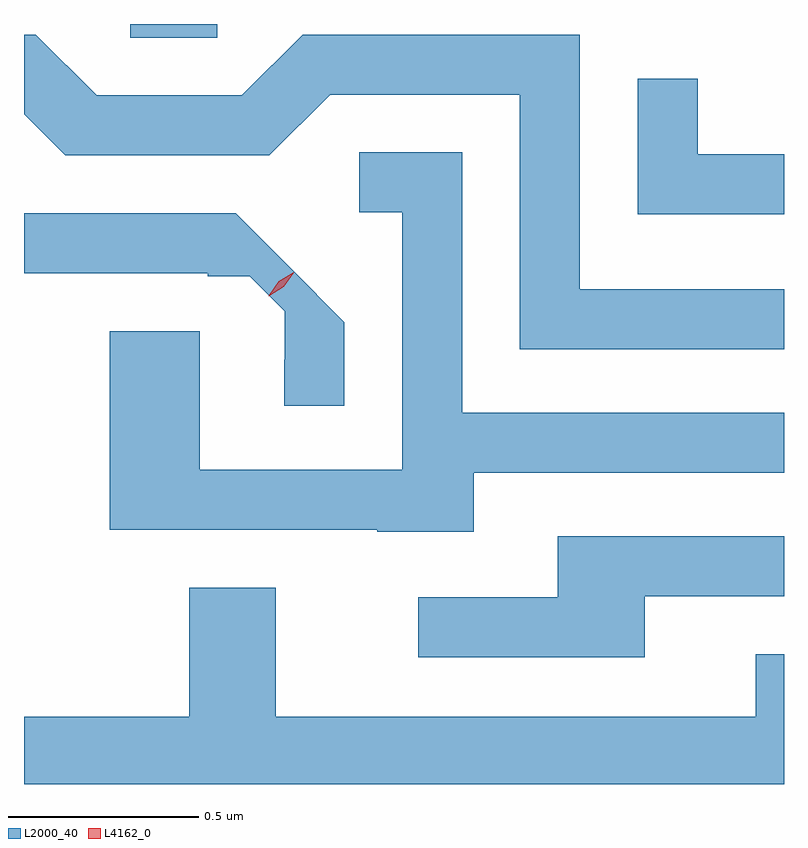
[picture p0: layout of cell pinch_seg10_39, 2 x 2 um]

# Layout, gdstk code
import gdstk
lib = gdstk.Library(unit=1e-6, precision=1e-09)
def R(c, l, rs):  # rectangles x0, y0, x1, y1
    for r in rs: c.add(gdstk.rectangle(r[:2], r[2:], *l))
def P(c, l, *ps):  # polygons
    for p in ps: c.add(gdstk.Polygon(p, *l))
L2000_40 = (2000, 40)
L4162_0 = (4162, 0)

pinch_seg10_39 = lib.new_cell('pinch_seg10_39')
R(pinch_seg10_39, L2000_40, [(606.936,2153.711,607.164,2153.747)])
P(pinch_seg10_39, L2000_40, [(608.656,2153.049),(608.119,2153.049),(608.119,2153.719),(607.389,2153.719),(607.229,2153.559),(606.847,2153.559),(606.687,2153.719),(606.656,2153.719),(606.656,2153.509),(606.764,2153.401),(607.302,2153.401),(607.462,2153.561),(607.961,2153.561),(607.961,2152.891),(608.656,2152.891)],
  [(608.656,2153.404),(608.429,2153.404),(608.429,2153.603),(608.271,2153.603),(608.271,2153.246),(608.656,2153.246)],
  [(607.839,2152.566),(608.656,2152.566),(608.656,2152.724),(607.809,2152.724),(607.809,2153.409),(607.538,2153.409),(607.538,2153.251),(607.651,2153.251),(607.651,2152.574),(607.119,2152.574),(607.119,2152.939),(606.881,2152.939),(606.881,2152.416),(607.585,2152.416),(607.585,2152.411),(607.839,2152.411)],
  [(607.499,2152.962),(607.426,2153.035),(607.426,2153.036),(607.213,2153.249),(606.656,2153.249),(606.656,2153.091),(607.14,2153.091),(607.14,2153.083),(607.25,2153.083),(607.342,2152.991),(607.342,2152.863),(607.341,2152.863),(607.341,2152.743),(607.499,2152.743)],
  [(608.289,2152.241),(608.656,2152.241),(608.656,2152.399),(608.061,2152.399),(608.061,2152.239),(607.693,2152.239),(607.693,2152.081),(608.289,2152.081)],
  [(608.656,2152.089),(608.581,2152.089),(608.581,2151.924),(607.319,2151.924),(607.319,2152.264),(607.091,2152.264),(607.091,2151.924),(606.656,2151.924),(606.656,2151.747),(608.656,2151.747)])
P(pinch_seg10_39, L4162_0, [(607.304,2153.035),(607.304,2153.036),(607.326,2153.07),(607.361,2153.09),(607.362,2153.09),(607.362,2153.089),(607.34,2153.055),(607.305,2153.035)],
  [(607.3,2153.031),(607.3,2153.032),(607.326,2153.07),(607.366,2153.094),(607.366,2153.094),(607.366,2153.093),(607.34,2153.055),(607.3,2153.031)])

lib.write_gds('pinch_seg10_39.gds')
